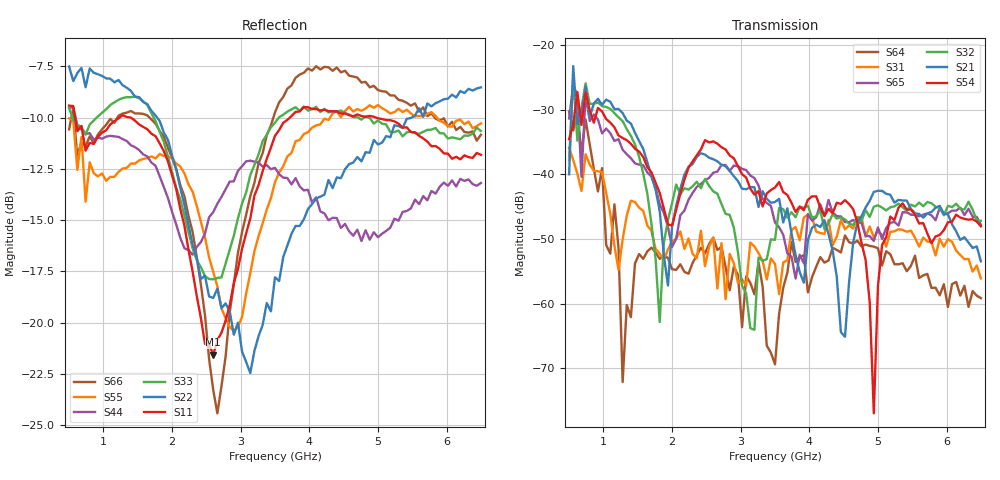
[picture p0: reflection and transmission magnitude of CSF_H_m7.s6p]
!Keysight Technologies,M9804A,MY58100912,A.14.10.03
!Date: Thursday, April 27, 2023 10:28:33
!Correction: S11(C  6-Port  )
!S12(C  6-Port  )
!S13(C  6-Port  )
!S14(C  6-Port  )
!S15(C  6-Port  )
!S16(C  6-Port  )
!S21(C  6-Port  )
!S22(C  6-Port  )
!S23(C  6-Port  )
!S24(C  6-Port  )
!S25(C  6-Port  )
!S26(C  6-Port  )
!S31(C  6-Port  )
!S32(C  6-Port  )
!S33(C  6-Port  )
!S34(C  6-Port  )
!S35(C  6-Port  )
!S36(C  6-Port  )
!S41(C  6-Port  )
!S42(C  6-Port  )
!S43(C  6-Port  )
!S44(C  6-Port  )
!S45(C  6-Port  )
!S46(C  6-Port  )
!S51(C  6-Port  )
!S52(C  6-Port  )
!S53(C  6-Port  )
!S54(C  6-Port  )
!S55(C  6-Port  )
!S56(C  6-Port  )
!S61(C  6-Port  )
!S62(C  6-Port  )
!S63(C  6-Port  )
!S64(C  6-Port  )
!S65(C  6-Port  )
!S66(C  6-Port  )
!S6P File: Measurement: :
# Hz S  RI  R 50
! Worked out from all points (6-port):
!   101 points, 500 MHz to 6.5 GHz, reference 50 ohm
!   strongest paths, dB at 500 MHz, 2 GHz, 3.5 GHz, 5 GHz, 6.5 GHz:
!     S54: -34.6, -47.9, -42.0, -57.3, -48.0
!     S21: -40.0, -48.1, -44.3, -42.5, -53.5
!     S32: -37.7, -44.5, -50.1, -44.8, -47.2
!     S65: -31.3, -51.2, -47.5, -48.2, -47.8
!     S31: -35.9, -50.4, -53.9, -48.8, -56.1
!     S64: -30.2, -54.7, -69.4, -51.4, -59.1
!   lowest |S11| = -21.6 dB at 2.6 GHz (marker M1), VSWR 1.18, Z = 42.5 + j2.05 ohm
!   |S11| at or under -10 dB: 587.7 MHz to 1.233 GHz (645.2 MHz wide, 70.9 % of centre); 1.401 GHz to 3.716 GHz (2.315 GHz wide, 90.5 % of centre); 4.974 GHz to end of sweep
